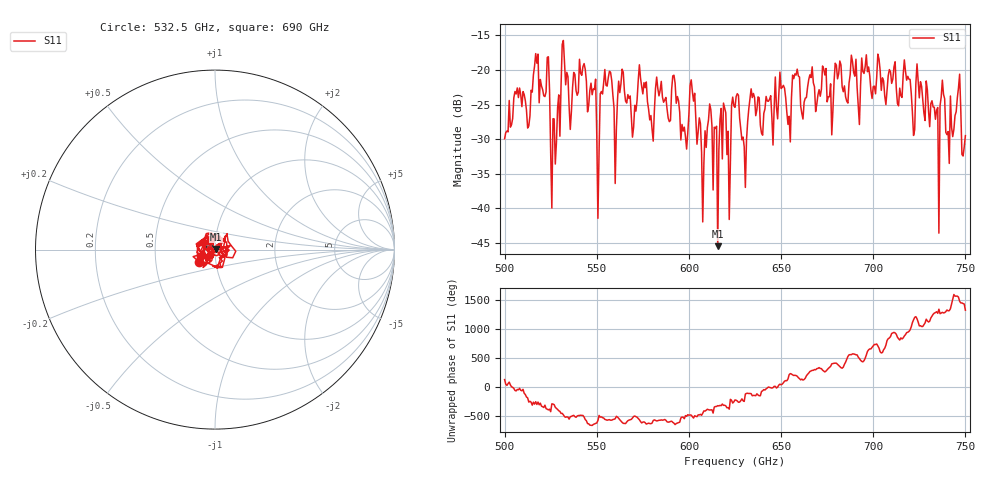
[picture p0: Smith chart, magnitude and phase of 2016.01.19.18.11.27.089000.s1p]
!Created with skrf (http://scikit-rf.org).
# GHz S RI R 50.0
!freq ReS11 ImS11
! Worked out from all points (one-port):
!   401 points, 500 GHz to 750 GHz, reference 50 ohm
!   lowest |S11| = -45.5 dB at 615.6 GHz (marker M1), VSWR 1.01, Z = 50.4 + j0.375 ohm
!   |S11| at or under -10 dB: start of sweep to end of sweep
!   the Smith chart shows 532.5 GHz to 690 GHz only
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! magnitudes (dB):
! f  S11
! 500 GHz  -29.9
! 506.9 GHz  -22.6
! 513.1 GHz  -28.1
! 516.9 GHz  -17.6
! 523.1 GHz  -18.2
! 526.2 GHz  -27.0
! 531.2 GHz  -16.3
! 548.1 GHz  -22.7
! 551.2 GHz  -31.8
! 553.1 GHz  -23.5
! 560 GHz  -36.4
! 562.5 GHz  -23.3
! 570 GHz  -28.3
! 573.8 GHz  -21.2
! 579.4 GHz  -26.6
! 593.8 GHz  -23.8
! 615.6 GHz  -45.5
! 618.8 GHz  -24.8
! 621.9 GHz  -41.6
! 625 GHz  -25.4
! 630 GHz  -31.1
! 634.4 GHz  -24.0
! 656.2 GHz  -20.7
! 687.5 GHz  -20.7
! 718.8 GHz  -20.9
! 734.4 GHz  -25.8
! 746.2 GHz  -22.6
! 750 GHz  -29.5
